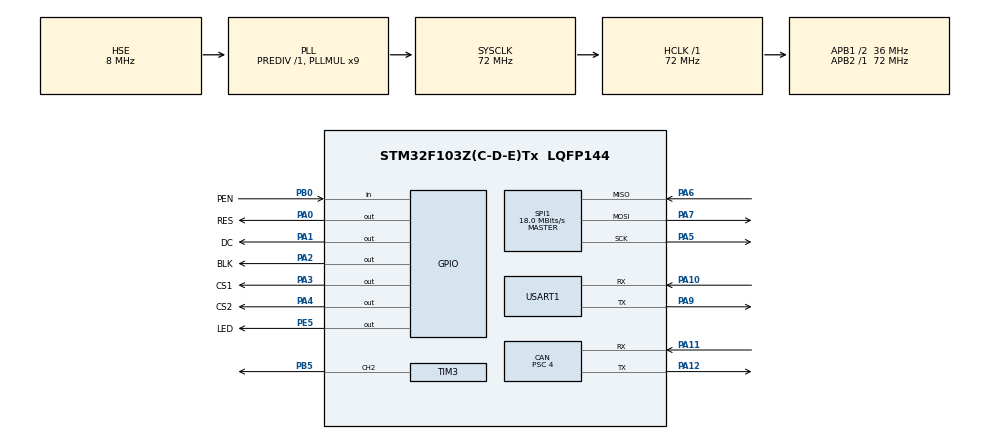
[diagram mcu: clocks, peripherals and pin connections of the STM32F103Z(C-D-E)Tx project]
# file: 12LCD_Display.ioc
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CAN.BS1=CAN_BS1_9TQ
CAN.BS2=CAN_BS2_8TQ
CAN.CalculateBaudRate=500000
CAN.CalculateTimeBit=2000
CAN.CalculateTimeQuantum=111.11111111111111
CAN.Prescaler=4
Mcu.Family=STM32F1
Mcu.Name=STM32F103Z(C-D-E)Tx
Mcu.Package=LQFP144
NVIC.PriorityGroup=NVIC_PRIORITYGROUP_4
NVIC.TIM6_IRQn=true\:0\:0\:false\:false\:true\:true\:true\:true
OSC_IN.Mode=HSE-External-Oscillator
OSC_IN.Signal=RCC_OSC_IN
OSC_OUT.Mode=HSE-External-Oscillator
OSC_OUT.Signal=RCC_OSC_OUT
PA0-WKUP.GPIO_Label=RES
PA0-WKUP.GPIO_PuPd=GPIO_PULLUP
PA0-WKUP.PinState=GPIO_PIN_SET
PA0-WKUP.Signal=GPIO_Output
PA1.GPIO_Label=DC
PA1.GPIO_PuPd=GPIO_PULLUP
PA1.PinState=GPIO_PIN_SET
PA1.Signal=GPIO_Output
PA10.Mode=Asynchronous
PA10.Signal=USART1_RX
PA11.Mode=CAN_Activate
PA11.Signal=CAN_RX
PA12.Mode=CAN_Activate
PA12.Signal=CAN_TX
PA13.Mode=Serial_Wire
PA13.Signal=SYS_JTMS-SWDIO
PA14.Mode=Serial_Wire
PA14.Signal=SYS_JTCK-SWCLK
PA2.GPIO_Label=BLK
PA2.GPIO_PuPd=GPIO_PULLUP
PA2.PinState=GPIO_PIN_SET
PA2.Signal=GPIO_Output
PA3.GPIO_Label=CS1
PA3.GPIO_PuPd=GPIO_PULLUP
PA3.PinState=GPIO_PIN_SET
PA3.Signal=GPIO_Output
PA4.GPIO_Label=CS2
PA4.GPIO_PuPd=GPIO_PULLUP
PA4.PinState=GPIO_PIN_SET
PA4.Signal=GPIO_Output
PA5.Mode=Full_Duplex_Master
PA5.Signal=SPI1_SCK
PA6.Mode=Full_Duplex_Master
PA6.Signal=SPI1_MISO
PA7.Mode=Full_Duplex_Master
PA7.Signal=SPI1_MOSI
PA9.Mode=Asynchronous
PA9.Signal=USART1_TX
PB0.GPIO_Label=PEN
PB0.GPIO_PuPd=GPIO_PULLUP
PB0.Signal=GPIO_Input
PB5.Signal=S_TIM3_CH2
PE5.GPIO_Label=LED
PE5.GPIO_PuPd=GPIO_PULLUP
PE5.PinState=GPIO_PIN_SET
PE5.Signal=GPIO_Output
ProjectManager.HeapSize=0x200
ProjectManager.StackSize=0x700
ProjectManager.TargetToolchain=MDK-ARM V5.32
RCC.AHBFreq_Value=72000000
RCC.APB1CLKDivider=RCC_HCLK_DIV2
RCC.APB1Freq_Value=36000000
RCC.APB1TimFreq_Value=72000000
RCC.APB2Freq_Value=72000000
RCC.APB2TimFreq_Value=72000000
RCC.HCLKFreq_Value=72000000
RCC.PLLMUL=RCC_PLL_MUL9
RCC.PLLSourceVirtual=RCC_PLLSOURCE_HSE
RCC.SYSCLKFreq_VALUE=72000000
RCC.SYSCLKSource=RCC_SYSCLKSOURCE_PLLCLK
RCC.USBFreq_Value=72000000
SH.S_TIM3_CH2.0=TIM3_CH2,PWM Generation2 CH2
SPI1.BaudRatePrescaler=SPI_BAUDRATEPRESCALER_4
SPI1.CalculateBaudRate=18.0 MBits/s
SPI1.Direction=SPI_DIRECTION_2LINES
SPI1.Mode=SPI_MODE_MASTER
SPI1.VirtualType=VM_MASTER
TIM1.Prescaler=72-1
TIM3.AutoReloadPreload=TIM_AUTORELOAD_PRELOAD_ENABLE
TIM3.Channel-PWM\ Generation2\ CH2=TIM_CHANNEL_2
TIM3.Period=100-1
TIM3.Prescaler=7200-1
TIM6.AutoReloadPreload=TIM_AUTORELOAD_PRELOAD_ENABLE
TIM6.Period=999
TIM6.Prescaler=71
USART1.VirtualMode=VM_ASYNC
VP_TIM1_VS_ClockSourceINT.Mode=Internal
VP_TIM3_VS_ClockSourceINT.Mode=Internal
VP_TIM6_VS_ClockSourceINT.Mode=Enable_Timer
board=custom

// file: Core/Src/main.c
/* USER CODE BEGIN Header */
/**
  ******************************************************************************
  * @file           : main.c
  * @brief          : Main program body
  ******************************************************************************
  * @attention
  *
  * Copyright (c) 2024 STMicroelectronics.
  * All rights reserved.
  *
  * This software is licensed under terms that can be found in the LICENSE file
  * in the root directory of this software component.
  * If no LICENSE file comes with this software, it is provided AS-IS.
  *
  ******************************************************************************
  */
/* USER CODE END Header */
#include "main.h"
#include "can.h"
#include "spi.h"
#include "tim.h"
#include "usart.h"
#include "gpio.h"

/* USER CODE BEGIN Includes */
#include "lcd_init.h"
#include "lcd.h"
#include "pic.h"
#include "touch.h"
#include "lvgl.h"
#include "lv_port_disp_template.h"
#include "lv_port_indev_template.h"
#include "lv_demo_stress.h"
#include "lv_demo_widgets.h"
#include "ui.h"
#include "dht11.h"
#include "canif.h"
#include "can_handle.h"
#include "inter_flashif.h"
#include "inter_flash_cfg.h"
/* USER CODE END Includes */

void SystemClock_Config(void);

int main(void)
{

  /* USER CODE BEGIN 1 */
uint8_t buff[4]={0};
  /* USER CODE END 1 */

  /* MCU Configuration--------------------------------------------------------*/

  /* Reset of all peripherals, Initializes the Flash interface and the Systick. */
  HAL_Init();

  /* Configure the system clock */
  SystemClock_Config();

  /* USER CODE BEGIN SysInit */
  __set_PRIMASK(0);
  /* USER CODE END SysInit */

  /* Initialize all configured peripherals */
  MX_GPIO_Init();
  MX_SPI1_Init();
  MX_USART1_UART_Init();
  MX_TIM6_Init();
  MX_TIM3_Init();
  MX_TIM1_Init();
  MX_CAN_Init();
  /* USER CODE BEGIN 2 */
	Can_Filter_Init();
  printf("                    APP  CAN Start\r\n");
  printf("----------------------------------------------------------------\r\n");

  printf("flash cfg size:%d\r\n", sizeof(inter_flash_cfg_param_typeDef));
  printf("----------------------------------------------------------------\r\n");
	inter_flash_cfg_init();

	HAL_TIM_Base_Start_IT(&htim6);
	HAL_TIM_PWM_Start(&htim3, TIM_CHANNEL_2);
	lv_init();
	lv_port_disp_init();
	lv_port_indev_init();
	//lv_demo_widgets();
	ui_init();
	//lv_demo_stress();

  /* USER CODE END 2 */

  /* Infinite loop */
  /* USER CODE BEGIN WHILE */
  while (1)
  {

		lv_timer_handler();
		HAL_Delay(5);
		DHT_Read();
//		Data[5]

		lv_arc_set_value(ui_Arc1, Data[2]);
		sprintf(buff,"%u",Data[2]);
    lv_label_set_text(ui_Label2, buff);

    lv_arc_set_value(ui_Arc2, Data[0]);
		sprintf(buff,"%u",Data[0]);
    lv_label_set_text(ui_Label4, buff);

		Can_Handle();
		 if (get_ota_flag() == 1)
     {
          inter_flash_cfg_set_app_update_flag(1);
          printf("Restarting...\r\n");
          HAL_Delay(1000);
          HAL_NVIC_SystemReset();
     }

		    //lv_label_set_text(ui_Label1, "Temperature & Humility Control System666");
    /* USER CODE END WHILE */

  }
}

void SystemClock_Config(void)
{
  RCC_OscInitTypeDef RCC_OscInitStruct = {0};
  RCC_ClkInitTypeDef RCC_ClkInitStruct = {0};

  /** Initializes the RCC Oscillators according to the specified parameters
  * in the RCC_OscInitTypeDef structure.
  */
  RCC_OscInitStruct.OscillatorType = RCC_OSCILLATORTYPE_HSE;
  RCC_OscInitStruct.HSEState = RCC_HSE_ON;
  RCC_OscInitStruct.HSEPredivValue = RCC_HSE_PREDIV_DIV1;
  RCC_OscInitStruct.HSIState = RCC_HSI_ON;
  RCC_OscInitStruct.PLL.PLLState = RCC_PLL_ON;
  RCC_OscInitStruct.PLL.PLLSource = RCC_PLLSOURCE_HSE;
  RCC_OscInitStruct.PLL.PLLMUL = RCC_PLL_MUL9;
  if (HAL_RCC_OscConfig(&RCC_OscInitStruct) != HAL_OK)
  {
    Error_Handler();
  }

  /** Initializes the CPU, AHB and APB buses clocks
  */
  RCC_ClkInitStruct.ClockType = RCC_CLOCKTYPE_HCLK|RCC_CLOCKTYPE_SYSCLK
                              |RCC_CLOCKTYPE_PCLK1|RCC_CLOCKTYPE_PCLK2;
  RCC_ClkInitStruct.SYSCLKSource = RCC_SYSCLKSOURCE_PLLCLK;
  RCC_ClkInitStruct.AHBCLKDivider = RCC_SYSCLK_DIV1;
  RCC_ClkInitStruct.APB1CLKDivider = RCC_HCLK_DIV2;
  RCC_ClkInitStruct.APB2CLKDivider = RCC_HCLK_DIV1;

  if (HAL_RCC_ClockConfig(&RCC_ClkInitStruct, FLASH_LATENCY_2) != HAL_OK)
  {
    Error_Handler();
  }
}

/* USER CODE BEGIN 4 */
void HAL_TIM_PeriodElapsedCallback(TIM_HandleTypeDef *htim)
{
	if (htim->Instance == TIM6)
	{
	 	lv_tick_inc(1);
	}

}
/* USER CODE END 4 */

void Error_Handler(void)
{
  __disable_irq();
  while (1)
  {
  }
}
